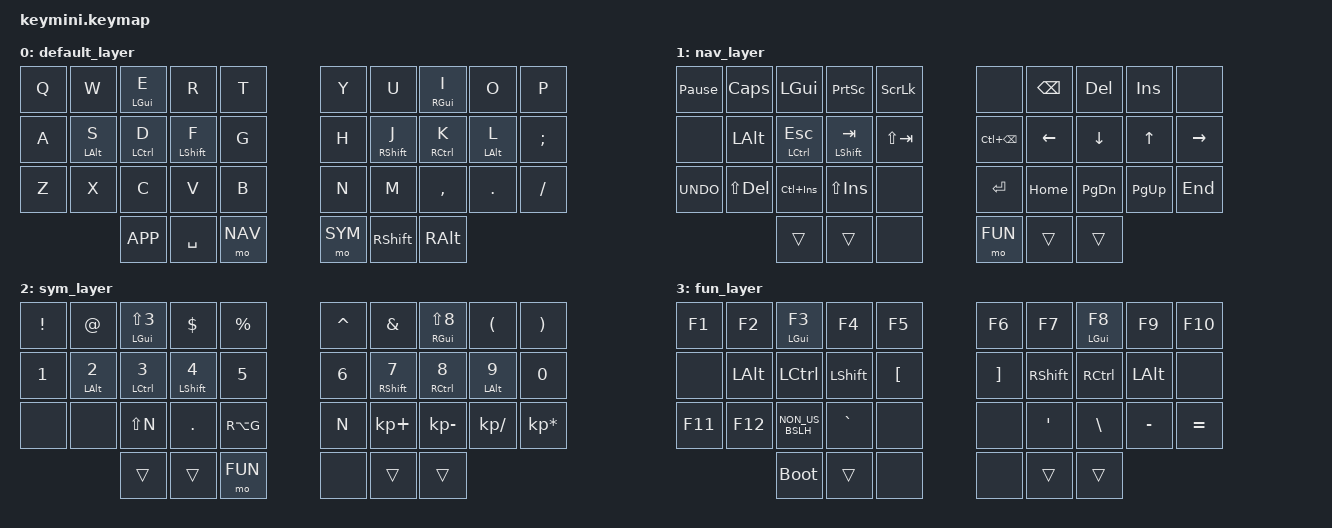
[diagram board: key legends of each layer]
/*
 * SPDX-License-Identifier: MIT
 */

#include <behaviors.dtsi>
#include <dt-bindings/zmk/keys.h>

#define DEF 0
#define NAV 1
#define SYM 2
#define FUN 3

/ {
	behaviors {
		hm: homerow_mods {
			compatible = "zmk,behavior-hold-tap";
			label = "homerow mods";
			#binding-cells = <2>;
			flavor = "tap-preferred";
			tapping-term-ms = <200>;
			bindings = <&kp>, <&kp>;
		};
	};

	keymap {
		compatible = "zmk,keymap";

		default_layer {
			bindings = <
	&kp Q         &kp W         &hm LGUI E    &kp R         &kp T             &kp Y         &kp U         &hm RGUI I    &kp O         &kp P
	&kp A         &hm LALT S    &hm LCTRL D   &hm LSHFT F   &kp G             &kp H         &hm RSHFT J   &hm RCTRL K   &hm LALT L    &kp SEMI
	&kp Z         &kp X         &kp C         &kp V         &kp B             &kp N         &kp M         &kp COMMA     &kp DOT       &kp FSLH
	                            &kp K_APP     &kp SPACE     &mo NAV           &mo SYM       &kp RSHFT     &kp RALT
			>;
		};

		nav_layer {
			bindings = <
	&kp PAUSE_BREAK &kp CAPS    &kp LGUI      &kp PSCRN     &kp SLCK          &none         &kp BSPC      &kp DEL       &kp INS       &none
	&none           &kp LALT    &hm LCTRL ESC &hm LSHFT TAB &kp LS(TAB)       &kp LC(BSPC)  &kp LEFT      &kp DOWN      &kp UP        &kp RIGHT
	&kp K_UNDO      &kp LS(DEL) &kp LC(INS)   &kp LS(INS)   &none             &kp RET       &kp HOME      &kp PG_DN     &kp PG_UP     &kp END
	                            &trans        &trans        &none             &mo FUN       &trans        &trans
			>;
		};

		sym_layer {
			bindings = <
	&kp EXCL      &kp AT        &hm LGUI LS(N3) &kp DLLR    &kp PRCNT         &kp CARET     &kp AMPS      &hm RGUI LS(N8) &kp LPAR    &kp RPAR
	&kp N1        &hm LALT N2   &hm LCTRL N3  &hm LSHFT N4  &kp N5            &kp N6        &hm RSHFT N7  &hm RCTRL N8  &hm LALT N9   &kp N0
	&none         &none         &kp LS(N)     &kp DOT       &kp RA(G)         &kp N         &kp KP_PLUS   &kp KP_MINUS  &kp KP_SLASH  &kp KP_ASTERISK
	                            &trans        &trans        &mo FUN           &none         &trans        &trans
			>;
		};

		fun_layer {
			bindings = <
	&kp F1        &kp F2        &hm LGUI F3   &kp F4        &kp F5            &kp F6        &kp F7        &hm LGUI F8   &kp F9        &kp F10
	&none         &kp LALT      &kp LCTRL     &kp LSHFT     &kp LBKT          &kp RBKT      &kp RSHFT     &kp RCTRL     &kp LALT      &none
	&kp F11       &kp F12       &kp NON_US_BSLH &kp GRAVE   &none             &none         &kp SQT       &kp BSLH      &kp MINUS     &kp EQUAL
	                            &bootloader   &trans        &none             &none         &trans        &trans
			>;
		};
	};
};
